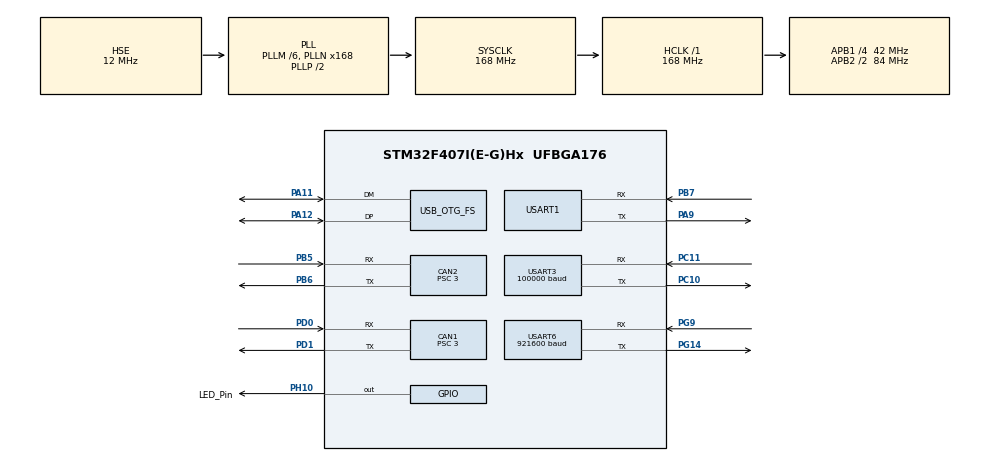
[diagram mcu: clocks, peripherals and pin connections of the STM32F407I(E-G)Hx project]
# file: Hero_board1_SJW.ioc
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CAN1.BS1=CAN_BS1_10TQ
CAN1.BS2=CAN_BS2_3TQ
CAN1.CalculateBaudRate=1000000
CAN1.CalculateTimeBit=1000
CAN1.CalculateTimeQuantum=71.42857142857143
CAN1.Prescaler=3
CAN1.TXFP=ENABLE
CAN2.BS1=CAN_BS1_10TQ
CAN2.BS2=CAN_BS2_3TQ
CAN2.CalculateBaudRate=1000000
CAN2.CalculateTimeBit=1000
CAN2.CalculateTimeQuantum=71.42857142857143
CAN2.Prescaler=3
CAN2.TXFP=ENABLE
Dma.Request0=USART3_RX
Dma.Request1=USART1_RX
Dma.Request2=USART1_TX
Dma.Request3=USART6_RX
Dma.USART1_RX.1.Direction=DMA_PERIPH_TO_MEMORY
Dma.USART1_RX.1.FIFOMode=DMA_FIFOMODE_DISABLE
Dma.USART1_RX.1.Instance=DMA2_Stream2
Dma.USART1_RX.1.MemDataAlignment=DMA_MDATAALIGN_BYTE
Dma.USART1_RX.1.MemInc=DMA_MINC_ENABLE
Dma.USART1_RX.1.Mode=DMA_CIRCULAR
Dma.USART1_RX.1.PeriphDataAlignment=DMA_PDATAALIGN_BYTE
Dma.USART1_RX.1.PeriphInc=DMA_PINC_DISABLE
Dma.USART1_RX.1.Priority=DMA_PRIORITY_LOW
Dma.USART1_TX.2.Direction=DMA_MEMORY_TO_PERIPH
Dma.USART1_TX.2.FIFOMode=DMA_FIFOMODE_DISABLE
Dma.USART1_TX.2.Instance=DMA2_Stream7
Dma.USART1_TX.2.MemDataAlignment=DMA_MDATAALIGN_BYTE
Dma.USART1_TX.2.MemInc=DMA_MINC_ENABLE
Dma.USART1_TX.2.Mode=DMA_CIRCULAR
Dma.USART1_TX.2.PeriphDataAlignment=DMA_PDATAALIGN_BYTE
Dma.USART1_TX.2.PeriphInc=DMA_PINC_DISABLE
Dma.USART1_TX.2.Priority=DMA_PRIORITY_LOW
Dma.USART3_RX.0.Direction=DMA_PERIPH_TO_MEMORY
Dma.USART3_RX.0.FIFOMode=DMA_FIFOMODE_DISABLE
Dma.USART3_RX.0.Instance=DMA1_Stream1
Dma.USART3_RX.0.MemDataAlignment=DMA_MDATAALIGN_BYTE
Dma.USART3_RX.0.MemInc=DMA_MINC_ENABLE
Dma.USART3_RX.0.Mode=DMA_CIRCULAR
Dma.USART3_RX.0.PeriphDataAlignment=DMA_PDATAALIGN_BYTE
Dma.USART3_RX.0.PeriphInc=DMA_PINC_DISABLE
Dma.USART3_RX.0.Priority=DMA_PRIORITY_VERY_HIGH
Dma.USART6_RX.3.Direction=DMA_PERIPH_TO_MEMORY
Dma.USART6_RX.3.FIFOMode=DMA_FIFOMODE_DISABLE
Dma.USART6_RX.3.Instance=DMA2_Stream1
Dma.USART6_RX.3.MemDataAlignment=DMA_MDATAALIGN_BYTE
Dma.USART6_RX.3.MemInc=DMA_MINC_ENABLE
Dma.USART6_RX.3.Mode=DMA_CIRCULAR
Dma.USART6_RX.3.PeriphDataAlignment=DMA_PDATAALIGN_BYTE
Dma.USART6_RX.3.PeriphInc=DMA_PINC_DISABLE
Dma.USART6_RX.3.Priority=DMA_PRIORITY_LOW
FREERTOS.INCLUDE_vTaskDelayUntil=1
FREERTOS.INCLUDE_xTaskGetHandle=1
FREERTOS.Tasks01=defaultTask,0,128,StartDefaultTask,Default,NULL,Dynamic,NULL,NULL;StartTask,3,128,ALL_Init,Default,NULL,Dynamic,NULL,NULL
Mcu.Family=STM32F4
Mcu.Name=STM32F407I(E-G)Hx
Mcu.Package=UFBGA176
NVIC.CAN1_RX0_IRQn=true\:5\:0\:false\:false\:true\:true\:true\:true\:true
NVIC.CAN1_TX_IRQn=true\:5\:0\:false\:false\:true\:true\:true\:true\:true
NVIC.CAN2_RX0_IRQn=true\:5\:0\:false\:false\:true\:true\:true\:true\:true
NVIC.CAN2_TX_IRQn=true\:5\:0\:false\:false\:true\:true\:true\:true\:true
NVIC.DMA1_Stream1_IRQn=true\:5\:0\:false\:false\:true\:true\:false\:true\:true
NVIC.DMA2_Stream1_IRQn=true\:5\:0\:false\:false\:true\:true\:false\:true\:true
NVIC.DMA2_Stream2_IRQn=true\:5\:0\:false\:false\:true\:true\:false\:true\:true
NVIC.DMA2_Stream7_IRQn=true\:5\:0\:false\:false\:true\:true\:false\:true\:true
NVIC.OTG_FS_IRQn=true\:5\:0\:false\:false\:true\:true\:true\:true\:true
NVIC.PriorityGroup=NVIC_PRIORITYGROUP_4
NVIC.TIM1_UP_TIM10_IRQn=true\:15\:0\:false\:false\:true\:false\:false\:true\:true
NVIC.TimeBase=TIM1_UP_TIM10_IRQn
NVIC.TimeBaseIP=TIM1
NVIC.USART3_IRQn=true\:5\:0\:false\:false\:true\:true\:true\:true\:true
NVIC.USART6_IRQn=true\:5\:0\:false\:false\:true\:true\:true\:true\:true
PA11.Mode=Device_Only
PA11.Signal=USB_OTG_FS_DM
PA12.Mode=Device_Only
PA12.Signal=USB_OTG_FS_DP
PA13.Mode=Serial_Wire
PA13.Signal=SYS_JTMS-SWDIO
PA14.Mode=Serial_Wire
PA14.Signal=SYS_JTCK-SWCLK
PA9.Mode=Asynchronous
PA9.Signal=USART1_TX
PB5.Mode=CAN_Activate
PB5.Signal=CAN2_RX
PB6.Mode=CAN_Activate
PB6.Signal=CAN2_TX
PB7.Mode=Asynchronous
PB7.Signal=USART1_RX
PC10.Mode=Asynchronous
PC10.Signal=USART3_TX
PC11.Mode=Asynchronous
PC11.Signal=USART3_RX
PD0.Mode=CAN_Activate
PD0.Signal=CAN1_RX
PD1.Mode=CAN_Activate
PD1.Signal=CAN1_TX
PG14.Mode=Asynchronous
PG14.Signal=USART6_TX
PG9.Mode=Asynchronous
PG9.Signal=USART6_RX
PH0-OSC_IN.Mode=HSE-External-Oscillator
PH0-OSC_IN.Signal=RCC_OSC_IN
PH1-OSC_OUT.Mode=HSE-External-Oscillator
PH1-OSC_OUT.Signal=RCC_OSC_OUT
PH10.GPIO_Label=LED_Pin
PH10.Signal=GPIO_Output
ProjectManager.HeapSize=0x200
ProjectManager.StackSize=0x400
ProjectManager.TargetToolchain=MDK-ARM V5.32
RCC.48MHZClocksFreq_Value=48000000
RCC.AHBFreq_Value=168000000
RCC.APB1CLKDivider=RCC_HCLK_DIV4
RCC.APB1Freq_Value=42000000
RCC.APB1TimFreq_Value=84000000
RCC.APB2CLKDivider=RCC_HCLK_DIV2
RCC.APB2Freq_Value=84000000
RCC.APB2TimFreq_Value=168000000
RCC.CortexFreq_Value=168000000
RCC.HCLKFreq_Value=168000000
RCC.HSE_VALUE=12000000
RCC.HSI_VALUE=16000000
RCC.LSE_VALUE=32768
RCC.PLLM=6
RCC.PLLN=168
RCC.PLLQ=7
RCC.SYSCLKFreq_VALUE=168000000
RCC.SYSCLKSource=RCC_SYSCLKSOURCE_PLLCLK
RCC.VCOOutputFreq_Value=336000000
USART1.VirtualMode=VM_ASYNC
USART3.BaudRate=100000
USART3.StopBits=STOPBITS_2
USART3.VirtualMode=VM_ASYNC
USART3.WordLength=WORDLENGTH_9B
USART6.BaudRate=921600
USART6.VirtualMode=VM_ASYNC
USB_DEVICE.CLASS_NAME_FS=CDC
USB_DEVICE.VirtualMode-CDC_FS=Cdc
USB_DEVICE.VirtualModeFS=Cdc_FS
USB_OTG_FS.VirtualMode=Device_Only
VP_FREERTOS_VS_CMSIS_V1.Mode=CMSIS_V1
VP_RTC_VS_RTC_Activate.Mode=RTC_Enabled
VP_RTC_VS_RTC_Calendar.Mode=RTC_Calendar
VP_SYS_VS_tim1.Mode=TIM1
VP_USB_DEVICE_VS_USB_DEVICE_CDC_FS.Mode=CDC_FS
board=custom

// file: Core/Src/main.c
/* USER CODE BEGIN Header */
/**
 ******************************************************************************
 * @file           : main.c
 * @brief          : Main program body
 ******************************************************************************
 * @attention
 *
 * Copyright (c) 2025 STMicroelectronics.
 * All rights reserved.
 *
 * This software is licensed under terms that can be found in the LICENSE file
 * in the root directory of this software component.
 * If no LICENSE file comes with this software, it is provided AS-IS.
 *
 ******************************************************************************
 */
/* USER CODE END Header */
#include "main.h"
#include "cmsis_os.h"
#include "can.h"
#include "dma.h"
#include "rtc.h"
#include "usart.h"
#include "usb_device.h"
#include "gpio.h"

void SystemClock_Config(void);
void MX_FREERTOS_Init(void);

int main(void)
{

  /* MCU Configuration--------------------------------------------------------*/

  /* Reset of all peripherals, Initializes the Flash interface and the Systick. */
  HAL_Init();

  /* Configure the system clock */
  SystemClock_Config();

  /* Initialize all configured peripherals */
  MX_GPIO_Init();
  MX_DMA_Init();
  MX_CAN1_Init();
  MX_CAN2_Init();
  MX_RTC_Init();
  MX_USART3_UART_Init();
  MX_USART1_UART_Init();
  MX_USART6_UART_Init();

  /* Call init function for freertos objects (in cmsis_os2.c) */
  MX_FREERTOS_Init();

  /* Start scheduler */
  osKernelStart();

  /* We should never get here as control is now taken by the scheduler */

  /* Infinite loop */
  while (1)
  {

  }
}

void SystemClock_Config(void)
{
  RCC_OscInitTypeDef RCC_OscInitStruct = {0};
  RCC_ClkInitTypeDef RCC_ClkInitStruct = {0};

  /** Configure the main internal regulator output voltage
   */
  __HAL_RCC_PWR_CLK_ENABLE();
  __HAL_PWR_VOLTAGESCALING_CONFIG(PWR_REGULATOR_VOLTAGE_SCALE1);

  /** Initializes the RCC Oscillators according to the specified parameters
   * in the RCC_OscInitTypeDef structure.
   */
  RCC_OscInitStruct.OscillatorType = RCC_OSCILLATORTYPE_LSI | RCC_OSCILLATORTYPE_HSE;
  RCC_OscInitStruct.HSEState = RCC_HSE_ON;
  RCC_OscInitStruct.LSIState = RCC_LSI_ON;
  RCC_OscInitStruct.PLL.PLLState = RCC_PLL_ON;
  RCC_OscInitStruct.PLL.PLLSource = RCC_PLLSOURCE_HSE;
  RCC_OscInitStruct.PLL.PLLM = 6;
  RCC_OscInitStruct.PLL.PLLN = 168;
  RCC_OscInitStruct.PLL.PLLP = RCC_PLLP_DIV2;
  RCC_OscInitStruct.PLL.PLLQ = 7;
  if (HAL_RCC_OscConfig(&RCC_OscInitStruct) != HAL_OK)
  {
    Error_Handler();
  }

  /** Initializes the CPU, AHB and APB buses clocks
   */
  RCC_ClkInitStruct.ClockType = RCC_CLOCKTYPE_HCLK | RCC_CLOCKTYPE_SYSCLK | RCC_CLOCKTYPE_PCLK1 | RCC_CLOCKTYPE_PCLK2;
  RCC_ClkInitStruct.SYSCLKSource = RCC_SYSCLKSOURCE_PLLCLK;
  RCC_ClkInitStruct.AHBCLKDivider = RCC_SYSCLK_DIV1;
  RCC_ClkInitStruct.APB1CLKDivider = RCC_HCLK_DIV4;
  RCC_ClkInitStruct.APB2CLKDivider = RCC_HCLK_DIV2;

  if (HAL_RCC_ClockConfig(&RCC_ClkInitStruct, FLASH_LATENCY_5) != HAL_OK)
  {
    Error_Handler();
  }
}

void HAL_TIM_PeriodElapsedCallback(TIM_HandleTypeDef *htim)
{
  if (htim->Instance == TIM1)
  {
    HAL_IncTick();
  }
}

void Error_Handler(void)
{
  __disable_irq();
  while (1)
  {
  }
}

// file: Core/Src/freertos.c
/* USER CODE BEGIN Header */
/**
 ******************************************************************************
 * File Name          : freertos.c
 * Description        : Code for freertos applications
 ******************************************************************************
 * @attention
 *
 * Copyright (c) 2025 STMicroelectronics.
 * All rights reserved.
 *
 * This software is licensed under terms that can be found in the LICENSE file
 * in the root directory of this software component.
 * If no LICENSE file comes with this software, it is provided AS-IS.
 *
 ******************************************************************************
 */
/* USER CODE END Header */

#include "FreeRTOS.h"
#include "task.h"
#include "main.h"
#include "cmsis_os.h"

/* USER CODE BEGIN Includes */
#include "typedef.h"
#include "pid.h"
#include "BSP_Can.h"
#include "BSP_Usart.h"
#include "Cloud_Control.h"
#include "Shoot.h"
#include "DT7.h"
#include "Protocol_UpperComputer.h"
#include "Task_J4310_onlineCheck.h"
/* USER CODE END Includes */

/* USER CODE BEGIN Variables */
/***********Queues************/
QueueHandle_t CAN1_ReceiveHandle;              // can1接收队列
QueueHandle_t CAN2_ReceiveHandle;              // can2接收队列
QueueHandle_t CAN_SendHandle;                  // can发送队列
QueueHandle_t Communicate_ReceivefromPCHandle; // 从PC接收到的数据队列

/***********Tasks************/
osThreadId Task_Can1MsgRecHandle; 				// can1消息接收任务句柄
osThreadId Task_Can2MsgRecHandle; 				// can2消息接收任务句柄
osThreadId Task_CanSendHandle;    				// can发送任务句柄
osThreadId Robot_Control_Handle;          // 机器人控制任务句柄
osThreadId Task_CommunicateFromPC_Handle; // 从PC通信任务句柄
osThreadId Task_CommunicateToPC_Handle;   // 向PC通信任务句柄
osThreadId Task_DT7_Handle;               // 遥控器任务句柄;
osThreadId Task_J4310_onlineCheck_Handle;	// J4310电机在线检测

/* USER CODE END Variables */
osThreadId defaultTaskHandle;
osThreadId StartTaskHandle;

/* USER CODE BEGIN FunctionPrototypes */
extern void Can1Receives(void const *argument);
extern void Can2Receives(void const *argument);
extern void AllCanSend(void const *argument);
extern void Robot_Control(void const *argument);
extern void USBCommunicateTask_Receive(void const *argument);
extern void USBCommunicateTask_Send(void const *argument);
extern void DT7_Control(void const *argument);
extern void J4310_onlineCheck(void const *argument);
/* USER CODE END FunctionPrototypes */

void StartDefaultTask(void const * argument);
void ALL_Init(void const * argument);

extern void MX_USB_DEVICE_Init(void);
void MX_FREERTOS_Init(void); /* (MISRA C 2004 rule 8.1) */

/* GetIdleTaskMemory prototype (linked to static allocation support) */
void vApplicationGetIdleTaskMemory( StaticTask_t **ppxIdleTaskTCBBuffer, StackType_t **ppxIdleTaskStackBuffer, uint32_t *pulIdleTaskStackSize );

/* USER CODE BEGIN GET_IDLE_TASK_MEMORY */
static StaticTask_t xIdleTaskTCBBuffer;
static StackType_t xIdleStack[configMINIMAL_STACK_SIZE];

void vApplicationGetIdleTaskMemory(StaticTask_t **ppxIdleTaskTCBBuffer, StackType_t **ppxIdleTaskStackBuffer, uint32_t *pulIdleTaskStackSize)
{
  *ppxIdleTaskTCBBuffer = &xIdleTaskTCBBuffer;
  *ppxIdleTaskStackBuffer = &xIdleStack[0];
  *pulIdleTaskStackSize = configMINIMAL_STACK_SIZE;
  /* place for user code */
}
/* USER CODE END GET_IDLE_TASK_MEMORY */

void MX_FREERTOS_Init(void) {

  /* USER CODE BEGIN RTOS_QUEUES */
  /* add queues, ... */
  /* definition and creation of CAN1_Receive */
  CAN1_ReceiveHandle = xQueueCreate(32, sizeof(Can_Export_Data_t));

  /* definition and creation of CAN2_Receive */
  CAN2_ReceiveHandle = xQueueCreate(32, sizeof(Can_Export_Data_t));

  /* definition and creation of CAN_Send */
  CAN_SendHandle = xQueueCreate(16, sizeof(Can_Send_Data_t));

  /* definition and creation of Communicate_PC */
  Communicate_ReceivefromPCHandle = xQueueCreate(16, UpperCom_MAX_BUF);
  /* USER CODE END RTOS_QUEUES */

  /* Create the thread(s) */
  /* definition and creation of defaultTask */
  osThreadDef(defaultTask, StartDefaultTask, osPriorityNormal, 0, 128);
  defaultTaskHandle = osThreadCreate(osThread(defaultTask), NULL);

  /* definition and creation of StartTask */
  osThreadDef(StartTask, ALL_Init, osPriorityRealtime, 0, 128);
  StartTaskHandle = osThreadCreate(osThread(StartTask), NULL);

  /* USER CODE BEGIN RTOS_THREADS */
  /* add threads, ... */
  /* definition and creation of Can1ReceiveTask */
  osThreadDef(Can1_ReceiveTask, Can1Receives, osPriorityAboveNormal, 0, 128);
  Task_Can1MsgRecHandle = osThreadCreate(osThread(Can1_ReceiveTask), NULL);

  /* definition and creation of Can1ReceiveTask */
  osThreadDef(Can2_ReceiveTask, Can2Receives, osPriorityAboveNormal, 0, 128);
  Task_Can2MsgRecHandle = osThreadCreate(osThread(Can2_ReceiveTask), NULL);

  /* definition and creation of CanSendTask */
  osThreadDef(Can_SendTask, AllCanSend, osPriorityHigh, 0, 256);
  Task_CanSendHandle = osThreadCreate(osThread(Can_SendTask), NULL);

  /* definition and creation of Robot_Control_Task */
  osThreadDef(Robot_Control_Task, Robot_Control, osPriorityRealtime, 0, 512);
  Robot_Control_Handle = osThreadCreate(osThread(Robot_Control_Task), NULL);

  /* definition and creation of Task_CommunicateToPC_Task */
  osThreadDef(Task_CommunicateToPC_Task, USBCommunicateTask_Send, osPriorityAboveNormal, 0, 256);
  Task_CommunicateToPC_Handle = osThreadCreate(osThread(Task_CommunicateToPC_Task), NULL);

  /* definition and creation of Task_CommunicateFromPC_Task */
  osThreadDef(Task_CommunicateFromPC_Task, USBCommunicateTask_Receive, osPriorityAboveNormal, 0, 256);
  Task_CommunicateFromPC_Handle = osThreadCreate(osThread(Task_CommunicateFromPC_Task), NULL);

  /* definition and creation of Task_DT7_Task */
  osThreadDef(Task_DT7_Task, DT7_Control, osPriorityHigh, 0, 256);
  Task_DT7_Handle = osThreadCreate(osThread(Task_DT7_Task), NULL);

  /* definition and creation of Task_J4310_onlineCheck_Task */
  osThreadDef(Task_J4310_onlineCheck_Task, J4310_onlineCheck, osPriorityAboveNormal, 0, 128);
  Task_J4310_onlineCheck_Handle = osThreadCreate(osThread(Task_J4310_onlineCheck_Task), NULL);
  /* USER CODE END RTOS_THREADS */

}

void StartDefaultTask(void const * argument)
{
  /* init code for USB_DEVICE */
  MX_USB_DEVICE_Init();
  for (;;)
  {
    osDelay(1);
  }
}

void ALL_Init(void const * argument)
{
  /* USER CODE BEGIN ALL_Init */
  /* Infinite loop */
  for (;;)
  {
    taskENTER_CRITICAL();
    HAL_GPIO_WritePin(LED_Pin_GPIO_Port, LED_Pin_Pin, GPIO_PIN_SET);
    /*********初始化两个CAN控制协议，使用中断模式*********/
    CAN_IT_Init(&hcan1, Can1_Type);
    CAN_IT_Init(&hcan2, Can2_Type);
    /*********初始化PID*********/
    fuzzy_init(&fuzzy_pid_shoot_l, 100, -100, 25, 0.1, 10);
    fuzzy_init(&fuzzy_pid_shoot_r, 100, -100, 25, 0.1, 10);
    fuzzy_init(&fuzzy_pid_bullet_v, 30, -30, 5, 0.01, 3);
    fuzzy_init(&fuzzy_pid_bullet_l, 10, -10, 0.1, 0.01, 1);

    Incremental_PIDInit(&M3508_FricL_Pid, 40.f, 0, 30, 20000, 5000);
    Incremental_PIDInit(&M3508_FricR_Pid, 40.f, 0, 30, 20000, 5000);
    Position_PIDInit(&M2006_DialV_Pid, 50.0f, 0.01f, 0.5, 0.5, 20000, 8000, 700);
    Incremental_PIDInit(&M2006_DialI_Pid, 50.0f, 0.5f, 3, 20000, 1000);

    /**********云台初始化*********/
    Cloud_Init();

    /**********遥控器初始化*********/
    //DT7_Init();
		DJI_VT13_Init();

    vTaskDelete(StartTaskHandle); // 删除启动任务
    taskEXIT_CRITICAL();          // 退出临界区
    osDelay(1);
  }
  /* USER CODE END ALL_Init */
}
